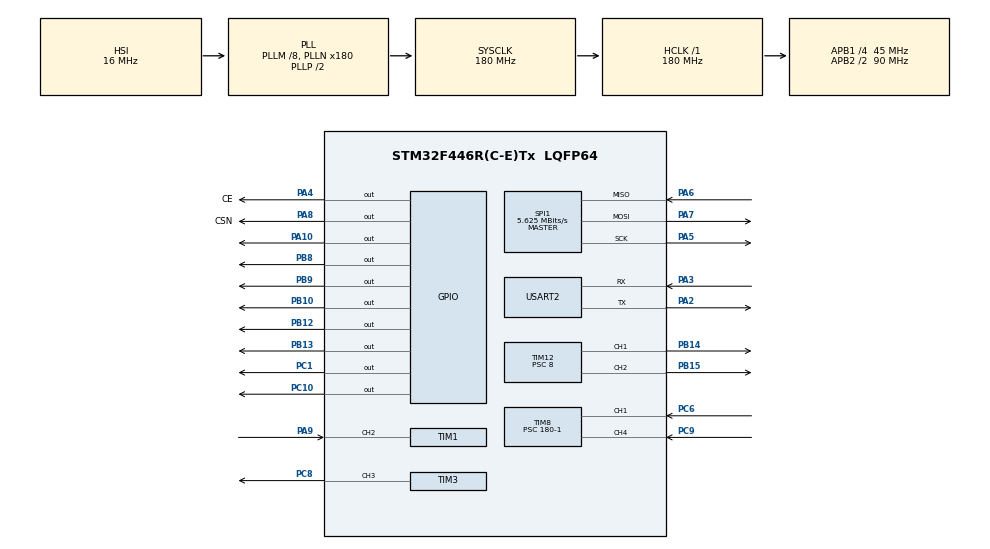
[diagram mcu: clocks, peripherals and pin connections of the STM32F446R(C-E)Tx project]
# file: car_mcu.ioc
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Mcu.Family=STM32F4
Mcu.Name=STM32F446R(C-E)Tx
Mcu.Package=LQFP64
NVIC.PriorityGroup=NVIC_PRIORITYGROUP_4
NVIC.SPI1_IRQn=true\:0\:0\:false\:false\:true\:true\:true\:true
NVIC.TIM1_CC_IRQn=true\:0\:0\:false\:false\:true\:true\:true\:true
NVIC.TIM8_CC_IRQn=true\:0\:0\:false\:false\:true\:true\:true\:true
PA10.Signal=GPIO_Output
PA13.Mode=Serial_Wire
PA13.Signal=SYS_JTMS-SWDIO
PA14.Mode=Serial_Wire
PA14.Signal=SYS_JTCK-SWCLK
PA2.Mode=Asynchronous
PA2.Signal=USART2_TX
PA3.Mode=Asynchronous
PA3.Signal=USART2_RX
PA4.GPIO_Label=CE
PA4.GPIO_Speed=GPIO_SPEED_FREQ_HIGH
PA4.Signal=GPIO_Output
PA5.Mode=Full_Duplex_Master
PA5.Signal=SPI1_SCK
PA6.Mode=Full_Duplex_Master
PA6.Signal=SPI1_MISO
PA7.Mode=Full_Duplex_Master
PA7.Signal=SPI1_MOSI
PA8.GPIO_Label=CSN
PA8.GPIO_Speed=GPIO_SPEED_FREQ_HIGH
PA8.Signal=GPIO_Output
PA9.Signal=S_TIM1_CH2
PB10.Signal=GPIO_Output
PB12.Signal=GPIO_Output
PB13.Signal=GPIO_Output
PB14.Signal=S_TIM12_CH1
PB15.Signal=S_TIM12_CH2
PB8.Signal=GPIO_Output
PB9.Signal=GPIO_Output
PC1.Signal=GPIO_Output
PC10.Signal=GPIO_Output
PC6.Signal=S_TIM8_CH1
PC8.Signal=S_TIM3_CH3
PC9.Signal=S_TIM8_CH4
ProjectManager.HeapSize=0x200
ProjectManager.StackSize=0x400
ProjectManager.TargetToolchain=STM32CubeIDE
RCC.AHBFreq_Value=180000000
RCC.APB1CLKDivider=RCC_HCLK_DIV4
RCC.APB1Freq_Value=45000000
RCC.APB1TimFreq_Value=90000000
RCC.APB2CLKDivider=RCC_HCLK_DIV2
RCC.APB2Freq_Value=90000000
RCC.APB2TimFreq_Value=180000000
RCC.CortexFreq_Value=180000000
RCC.HCLKFreq_Value=180000000
RCC.PLLM=8
RCC.PLLN=180
RCC.SYSCLKFreq_VALUE=180000000
RCC.SYSCLKSource=RCC_SYSCLKSOURCE_PLLCLK
RCC.USBFreq_Value=180000000
RCC.VCOOutputFreq_Value=360000000
SH.S_TIM12_CH1.0=TIM12_CH1,PWM Generation1 CH1
SH.S_TIM12_CH2.0=TIM12_CH2,PWM Generation2 CH2
SH.S_TIM1_CH2.0=TIM1_CH2,Input_Capture2_from_TI2
SH.S_TIM3_CH3.0=TIM3_CH3,PWM Generation3 CH3
SH.S_TIM8_CH1.0=TIM8_CH1,Input_Capture1_from_TI1
SH.S_TIM8_CH4.0=TIM8_CH4,Input_Capture4_from_TI4
SPI1.BaudRatePrescaler=SPI_BAUDRATEPRESCALER_16
SPI1.CalculateBaudRate=5.625 MBits/s
SPI1.Direction=SPI_DIRECTION_2LINES
SPI1.Mode=SPI_MODE_MASTER
SPI1.VirtualType=VM_MASTER
TIM1.Channel-Input_Capture2_from_TI2=TIM_CHANNEL_2
TIM1.Period=0xffff-1
TIM1.Prescaler=180-1
TIM12.Channel-PWM\ Generation1\ CH1=TIM_CHANNEL_1
TIM12.Channel-PWM\ Generation2\ CH2=TIM_CHANNEL_2
TIM12.Period=999
TIM12.Prescaler=8
TIM2.Prescaler=180-1
TIM3.Channel-PWM\ Generation3\ CH3=TIM_CHANNEL_3
TIM3.Period=1000-1
TIM3.Prescaler=1800-1
TIM8.Channel-Input_Capture1_from_TI1=TIM_CHANNEL_1
TIM8.Channel-Input_Capture4_from_TI4=TIM_CHANNEL_4
TIM8.Period=0xffff-1
TIM8.Prescaler=180-1
USART2.VirtualMode=VM_ASYNC
VP_TIM12_VS_ClockSourceINT.Mode=Internal
VP_TIM1_VS_ClockSourceINT.Mode=Internal
VP_TIM2_VS_ClockSourceINT.Mode=Internal
VP_TIM3_VS_ClockSourceINT.Mode=Internal
VP_TIM8_VS_ClockSourceINT.Mode=Internal
board=custom

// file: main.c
/* USER CODE BEGIN Header */
/**
 ******************************************************************************
 * @file           : main.c
 * @brief          : Main program body
 ******************************************************************************
 * @attention
 *
 * Copyright (c) 2026 STMicroelectronics.
 * All rights reserved.
 *
 * This software is licensed under terms that can be found in the LICENSE file
 * in the root directory of this software component.
 * If no LICENSE file comes with this software, it is provided AS-IS.
 *
 ******************************************************************************
 */
/* USER CODE END Header */
#include "main.h"

/* USER CODE BEGIN Includes */
#include "string.h"
#include <stdio.h>
#include "NRF24L01.h"
#include "HCSR04.h"
#include "SG90.h"
#include "TB6612FNG.h"
#include "autonomous.h"
/* USER CODE END Includes */

/* USER CODE BEGIN PD */
#define TRIG_PORT_F GPIOC
#define TRIG_PIN_F GPIO_PIN_1

#define TRIG_PORT_L GPIOA
#define TRIG_PIN_L GPIO_PIN_10

#define TRIG_PORT_R GPIOC
#define TRIG_PIN_R GPIO_PIN_10

/* USER CODE END PD */

SPI_HandleTypeDef hspi1;

TIM_HandleTypeDef htim1;
TIM_HandleTypeDef htim2;
TIM_HandleTypeDef htim3;
TIM_HandleTypeDef htim8;
TIM_HandleTypeDef htim12;

UART_HandleTypeDef huart2;

void SystemClock_Config(void);
static void MX_GPIO_Init(void);
static void MX_SPI1_Init(void);
static void MX_TIM12_Init(void);
static void MX_TIM3_Init(void);
static void MX_TIM8_Init(void);
static void MX_USART2_UART_Init(void);
static void MX_TIM1_Init(void);
static void MX_TIM2_Init(void);

/* USER CODE BEGIN 0 */
volatile float distance_front = 1000.0;
volatile float distance_right = 1000.0;
volatile float distance_left = 1000.0;

typedef struct __attribute__((packed)) {
	uint8_t mode;
	uint16_t steering;
	uint16_t throttle;
	uint8_t reserved[27];
} ControlPacket;
char buf[20];

volatile uint32_t IC_Val1_F = 0;
volatile uint32_t IC_Val2_F = 0;
volatile uint32_t Difference_F = 0;
volatile uint8_t Is_First_Captured_F = 0;

volatile uint32_t IC_Val1_R = 0;
volatile uint32_t IC_Val2_R = 0;
volatile uint32_t Difference_R = 0;
volatile uint8_t Is_First_Captured_R = 0;

volatile uint32_t IC_Val1_L = 0;
volatile uint32_t IC_Val2_L = 0;
volatile uint32_t Difference_L = 0;
volatile uint8_t Is_First_Captured_L = 0;

uint8_t RxAddress[] = { 0xEE, 0xDD, 0xCC, 0xBB, 0xAA }; // address of the receiver data is sent to
char remoteBuffer[120];

/* USER CODE END 0 */

int main(void) {

	/* MCU Configuration--------------------------------------------------------*/

	/* Reset of all peripherals, Initializes the Flash interface and the Systick. */
	HAL_Init();

	/* Configure the system clock */
	SystemClock_Config();

	/* Initialize all configured peripherals */
	MX_GPIO_Init();
	MX_SPI1_Init();
	MX_TIM12_Init();
	MX_TIM3_Init();
	MX_TIM8_Init();
	MX_USART2_UART_Init();
	MX_TIM1_Init();
	MX_TIM2_Init();
	/* USER CODE BEGIN 2 */

	HAL_TIM_Base_Start(&htim2);  // for microsecond delay HCSR04
	HAL_TIM_IC_Start_IT(&htim1, TIM_CHANNEL_2); // for HCSR04 input capture with interrupt
	HAL_TIM_IC_Start_IT(&htim8, TIM_CHANNEL_1); // for HCSR04 input capture with interrupt
	HAL_TIM_IC_Start_IT(&htim8, TIM_CHANNEL_4); // for HCSR04 input capture with interrupt
	HAL_TIM_PWM_Start(&htim3, TIM_CHANNEL_3); // for SG90 PWM
	NRF24_Init();

	HAL_TIM_PWM_Start(&htim12, TIM_CHANNEL_1);
	HAL_TIM_PWM_Start(&htim12, TIM_CHANNEL_2);

	NRF24_RxMode(RxAddress, 10); // both boards must be on the same channel to communicate

	/* USER CODE END 2 */

	/* Infinite loop */
	while (1) {

		/* USER CODE BEGIN 3 */

		ControlPacket carPacket;

		if (isDataAvailable(1) == 1) {

			NRF24_Receive((uint8_t*) &carPacket);

			Motors(carPacket.throttle);
			Servo(carPacket.steering);
		}
	}

	/* USER CODE END 3 */
}

void SystemClock_Config(void) {
	RCC_OscInitTypeDef RCC_OscInitStruct = { 0 };
	RCC_ClkInitTypeDef RCC_ClkInitStruct = { 0 };

	/** Configure the main internal regulator output voltage
	 */
	__HAL_RCC_PWR_CLK_ENABLE();
	__HAL_PWR_VOLTAGESCALING_CONFIG(PWR_REGULATOR_VOLTAGE_SCALE1);

	/** Initializes the RCC Oscillators according to the specified parameters
	 * in the RCC_OscInitTypeDef structure.
	 */
	RCC_OscInitStruct.OscillatorType = RCC_OSCILLATORTYPE_HSI;
	RCC_OscInitStruct.HSIState = RCC_HSI_ON;
	RCC_OscInitStruct.HSICalibrationValue = RCC_HSICALIBRATION_DEFAULT;
	RCC_OscInitStruct.PLL.PLLState = RCC_PLL_ON;
	RCC_OscInitStruct.PLL.PLLSource = RCC_PLLSOURCE_HSI;
	RCC_OscInitStruct.PLL.PLLM = 8;
	RCC_OscInitStruct.PLL.PLLN = 180;
	RCC_OscInitStruct.PLL.PLLP = RCC_PLLP_DIV2;
	RCC_OscInitStruct.PLL.PLLQ = 2;
	RCC_OscInitStruct.PLL.PLLR = 2;
	if (HAL_RCC_OscConfig(&RCC_OscInitStruct) != HAL_OK) {
		Error_Handler();
	}

	/** Activate the Over-Drive mode
	 */
	if (HAL_PWREx_EnableOverDrive() != HAL_OK) {
		Error_Handler();
	}

	/** Initializes the CPU, AHB and APB buses clocks
	 */
	RCC_ClkInitStruct.ClockType = RCC_CLOCKTYPE_HCLK | RCC_CLOCKTYPE_SYSCLK
			| RCC_CLOCKTYPE_PCLK1 | RCC_CLOCKTYPE_PCLK2;
	RCC_ClkInitStruct.SYSCLKSource = RCC_SYSCLKSOURCE_PLLCLK;
	RCC_ClkInitStruct.AHBCLKDivider = RCC_SYSCLK_DIV1;
	RCC_ClkInitStruct.APB1CLKDivider = RCC_HCLK_DIV4;
	RCC_ClkInitStruct.APB2CLKDivider = RCC_HCLK_DIV2;

	if (HAL_RCC_ClockConfig(&RCC_ClkInitStruct, FLASH_LATENCY_5) != HAL_OK) {
		Error_Handler();
	}
}

static void MX_SPI1_Init(void) {

	/* SPI1 parameter configuration*/
	hspi1.Instance = SPI1;
	hspi1.Init.Mode = SPI_MODE_MASTER;
	hspi1.Init.Direction = SPI_DIRECTION_2LINES;
	hspi1.Init.DataSize = SPI_DATASIZE_8BIT;
	hspi1.Init.CLKPolarity = SPI_POLARITY_LOW;
	hspi1.Init.CLKPhase = SPI_PHASE_1EDGE;
	hspi1.Init.NSS = SPI_NSS_SOFT;
	hspi1.Init.BaudRatePrescaler = SPI_BAUDRATEPRESCALER_16;
	hspi1.Init.FirstBit = SPI_FIRSTBIT_MSB;
	hspi1.Init.TIMode = SPI_TIMODE_DISABLE;
	hspi1.Init.CRCCalculation = SPI_CRCCALCULATION_DISABLE;
	hspi1.Init.CRCPolynomial = 10;
	if (HAL_SPI_Init(&hspi1) != HAL_OK) {
		Error_Handler();
	}

}

static void MX_TIM1_Init(void) {

	TIM_ClockConfigTypeDef sClockSourceConfig = { 0 };
	TIM_MasterConfigTypeDef sMasterConfig = { 0 };
	TIM_IC_InitTypeDef sConfigIC = { 0 };

	htim1.Instance = TIM1;
	htim1.Init.Prescaler = 180 - 1;
	htim1.Init.CounterMode = TIM_COUNTERMODE_UP;
	htim1.Init.Period = 0xffff - 1;
	htim1.Init.ClockDivision = TIM_CLOCKDIVISION_DIV1;
	htim1.Init.RepetitionCounter = 0;
	htim1.Init.AutoReloadPreload = TIM_AUTORELOAD_PRELOAD_DISABLE;
	if (HAL_TIM_Base_Init(&htim1) != HAL_OK) {
		Error_Handler();
	}
	sClockSourceConfig.ClockSource = TIM_CLOCKSOURCE_INTERNAL;
	if (HAL_TIM_ConfigClockSource(&htim1, &sClockSourceConfig) != HAL_OK) {
		Error_Handler();
	}
	if (HAL_TIM_IC_Init(&htim1) != HAL_OK) {
		Error_Handler();
	}
	sMasterConfig.MasterOutputTrigger = TIM_TRGO_RESET;
	sMasterConfig.MasterSlaveMode = TIM_MASTERSLAVEMODE_DISABLE;
	if (HAL_TIMEx_MasterConfigSynchronization(&htim1, &sMasterConfig)
			!= HAL_OK) {
		Error_Handler();
	}
	sConfigIC.ICPolarity = TIM_INPUTCHANNELPOLARITY_RISING;
	sConfigIC.ICSelection = TIM_ICSELECTION_DIRECTTI;
	sConfigIC.ICPrescaler = TIM_ICPSC_DIV1;
	sConfigIC.ICFilter = 0;
	if (HAL_TIM_IC_ConfigChannel(&htim1, &sConfigIC, TIM_CHANNEL_2) != HAL_OK) {
		Error_Handler();
	}

}

static void MX_TIM2_Init(void) {

	TIM_ClockConfigTypeDef sClockSourceConfig = { 0 };
	TIM_MasterConfigTypeDef sMasterConfig = { 0 };

	htim2.Instance = TIM2;
	htim2.Init.Prescaler = 180 - 1;
	htim2.Init.CounterMode = TIM_COUNTERMODE_UP;
	htim2.Init.Period = 4294967295;
	htim2.Init.ClockDivision = TIM_CLOCKDIVISION_DIV1;
	htim2.Init.AutoReloadPreload = TIM_AUTORELOAD_PRELOAD_DISABLE;
	if (HAL_TIM_Base_Init(&htim2) != HAL_OK) {
		Error_Handler();
	}
	sClockSourceConfig.ClockSource = TIM_CLOCKSOURCE_INTERNAL;
	if (HAL_TIM_ConfigClockSource(&htim2, &sClockSourceConfig) != HAL_OK) {
		Error_Handler();
	}
	sMasterConfig.MasterOutputTrigger = TIM_TRGO_RESET;
	sMasterConfig.MasterSlaveMode = TIM_MASTERSLAVEMODE_DISABLE;
	if (HAL_TIMEx_MasterConfigSynchronization(&htim2, &sMasterConfig)
			!= HAL_OK) {
		Error_Handler();
	}

}

static void MX_TIM3_Init(void) {

	TIM_ClockConfigTypeDef sClockSourceConfig = { 0 };
	TIM_MasterConfigTypeDef sMasterConfig = { 0 };
	TIM_OC_InitTypeDef sConfigOC = { 0 };

	htim3.Instance = TIM3;
	htim3.Init.Prescaler = 1800 - 1;
	htim3.Init.CounterMode = TIM_COUNTERMODE_UP;
	htim3.Init.Period = 1000 - 1;
	htim3.Init.ClockDivision = TIM_CLOCKDIVISION_DIV1;
	htim3.Init.AutoReloadPreload = TIM_AUTORELOAD_PRELOAD_DISABLE;
	if (HAL_TIM_Base_Init(&htim3) != HAL_OK) {
		Error_Handler();
	}
	sClockSourceConfig.ClockSource = TIM_CLOCKSOURCE_INTERNAL;
	if (HAL_TIM_ConfigClockSource(&htim3, &sClockSourceConfig) != HAL_OK) {
		Error_Handler();
	}
	if (HAL_TIM_PWM_Init(&htim3) != HAL_OK) {
		Error_Handler();
	}
	sMasterConfig.MasterOutputTrigger = TIM_TRGO_RESET;
	sMasterConfig.MasterSlaveMode = TIM_MASTERSLAVEMODE_DISABLE;
	if (HAL_TIMEx_MasterConfigSynchronization(&htim3, &sMasterConfig)
			!= HAL_OK) {
		Error_Handler();
	}
	sConfigOC.OCMode = TIM_OCMODE_PWM1;
	sConfigOC.Pulse = 0;
	sConfigOC.OCPolarity = TIM_OCPOLARITY_HIGH;
	sConfigOC.OCFastMode = TIM_OCFAST_DISABLE;
	if (HAL_TIM_PWM_ConfigChannel(&htim3, &sConfigOC, TIM_CHANNEL_3)
			!= HAL_OK) {
		Error_Handler();
	}
	HAL_TIM_MspPostInit(&htim3);

}

static void MX_TIM8_Init(void) {

	TIM_ClockConfigTypeDef sClockSourceConfig = { 0 };
	TIM_MasterConfigTypeDef sMasterConfig = { 0 };
	TIM_IC_InitTypeDef sConfigIC = { 0 };

	htim8.Instance = TIM8;
	htim8.Init.Prescaler = 180 - 1;
	htim8.Init.CounterMode = TIM_COUNTERMODE_UP;
	htim8.Init.Period = 0xffff - 1;
	htim8.Init.ClockDivision = TIM_CLOCKDIVISION_DIV1;
	htim8.Init.RepetitionCounter = 0;
	htim8.Init.AutoReloadPreload = TIM_AUTORELOAD_PRELOAD_DISABLE;
	if (HAL_TIM_Base_Init(&htim8) != HAL_OK) {
		Error_Handler();
	}
	sClockSourceConfig.ClockSource = TIM_CLOCKSOURCE_INTERNAL;
	if (HAL_TIM_ConfigClockSource(&htim8, &sClockSourceConfig) != HAL_OK) {
		Error_Handler();
	}
	if (HAL_TIM_IC_Init(&htim8) != HAL_OK) {
		Error_Handler();
	}
	sMasterConfig.MasterOutputTrigger = TIM_TRGO_RESET;
	sMasterConfig.MasterSlaveMode = TIM_MASTERSLAVEMODE_DISABLE;
	if (HAL_TIMEx_MasterConfigSynchronization(&htim8, &sMasterConfig)
			!= HAL_OK) {
		Error_Handler();
	}
	sConfigIC.ICPolarity = TIM_INPUTCHANNELPOLARITY_RISING;
	sConfigIC.ICSelection = TIM_ICSELECTION_DIRECTTI;
	sConfigIC.ICPrescaler = TIM_ICPSC_DIV1;
	sConfigIC.ICFilter = 0;
	if (HAL_TIM_IC_ConfigChannel(&htim8, &sConfigIC, TIM_CHANNEL_1) != HAL_OK) {
		Error_Handler();
	}
	if (HAL_TIM_IC_ConfigChannel(&htim8, &sConfigIC, TIM_CHANNEL_4) != HAL_OK) {
		Error_Handler();
	}

}

static void MX_TIM12_Init(void) {

	TIM_ClockConfigTypeDef sClockSourceConfig = { 0 };
	TIM_OC_InitTypeDef sConfigOC = { 0 };

	htim12.Instance = TIM12;
	htim12.Init.Prescaler = 8;
	htim12.Init.CounterMode = TIM_COUNTERMODE_UP;
	htim12.Init.Period = 999;
	htim12.Init.ClockDivision = TIM_CLOCKDIVISION_DIV1;
	htim12.Init.AutoReloadPreload = TIM_AUTORELOAD_PRELOAD_DISABLE;
	if (HAL_TIM_Base_Init(&htim12) != HAL_OK) {
		Error_Handler();
	}
	sClockSourceConfig.ClockSource = TIM_CLOCKSOURCE_INTERNAL;
	if (HAL_TIM_ConfigClockSource(&htim12, &sClockSourceConfig) != HAL_OK) {
		Error_Handler();
	}
	if (HAL_TIM_PWM_Init(&htim12) != HAL_OK) {
		Error_Handler();
	}
	sConfigOC.OCMode = TIM_OCMODE_PWM1;
	sConfigOC.Pulse = 0;
	sConfigOC.OCPolarity = TIM_OCPOLARITY_HIGH;
	sConfigOC.OCFastMode = TIM_OCFAST_DISABLE;
	if (HAL_TIM_PWM_ConfigChannel(&htim12, &sConfigOC, TIM_CHANNEL_1)
			!= HAL_OK) {
		Error_Handler();
	}
	if (HAL_TIM_PWM_ConfigChannel(&htim12, &sConfigOC, TIM_CHANNEL_2)
			!= HAL_OK) {
		Error_Handler();
	}
	HAL_TIM_MspPostInit(&htim12);

}

static void MX_USART2_UART_Init(void) {

	huart2.Instance = USART2;
	huart2.Init.BaudRate = 9600;
	huart2.Init.WordLength = UART_WORDLENGTH_8B;
	huart2.Init.StopBits = UART_STOPBITS_1;
	huart2.Init.Parity = UART_PARITY_NONE;
	huart2.Init.Mode = UART_MODE_TX_RX;
	huart2.Init.HwFlowCtl = UART_HWCONTROL_NONE;
	huart2.Init.OverSampling = UART_OVERSAMPLING_16;
	if (HAL_UART_Init(&huart2) != HAL_OK) {
		Error_Handler();
	}

}

static void MX_GPIO_Init(void) {
	GPIO_InitTypeDef GPIO_InitStruct = { 0 };

	/* GPIO Ports Clock Enable */
	__HAL_RCC_GPIOC_CLK_ENABLE();
	__HAL_RCC_GPIOA_CLK_ENABLE();
	__HAL_RCC_GPIOB_CLK_ENABLE();

	/*Configure GPIO pin Output Level */
	HAL_GPIO_WritePin(GPIOC, GPIO_PIN_1 | GPIO_PIN_10, GPIO_PIN_RESET);

	/*Configure GPIO pin Output Level */
	HAL_GPIO_WritePin(GPIOA, CE_Pin | CSN_Pin | GPIO_PIN_10, GPIO_PIN_RESET);

	/*Configure GPIO pin Output Level */
	HAL_GPIO_WritePin(GPIOB,
	GPIO_PIN_10 | GPIO_PIN_12 | GPIO_PIN_13 | GPIO_PIN_8 | GPIO_PIN_9,
			GPIO_PIN_RESET);

	/*Configure GPIO pins : PC1 PC10 */
	GPIO_InitStruct.Pin = GPIO_PIN_1 | GPIO_PIN_10;
	GPIO_InitStruct.Mode = GPIO_MODE_OUTPUT_PP;
	GPIO_InitStruct.Pull = GPIO_NOPULL;
	GPIO_InitStruct.Speed = GPIO_SPEED_FREQ_LOW;
	HAL_GPIO_Init(GPIOC, &GPIO_InitStruct);

	/*Configure GPIO pins : CE_Pin CSN_Pin */
	GPIO_InitStruct.Pin = CE_Pin | CSN_Pin;
	GPIO_InitStruct.Mode = GPIO_MODE_OUTPUT_PP;
	GPIO_InitStruct.Pull = GPIO_NOPULL;
	GPIO_InitStruct.Speed = GPIO_SPEED_FREQ_HIGH;
	HAL_GPIO_Init(GPIOA, &GPIO_InitStruct);

	/*Configure GPIO pins : PB10 PB12 PB13 PB8
	 PB9 */
	GPIO_InitStruct.Pin = GPIO_PIN_10 | GPIO_PIN_12 | GPIO_PIN_13 | GPIO_PIN_8
			| GPIO_PIN_9;
	GPIO_InitStruct.Mode = GPIO_MODE_OUTPUT_PP;
	GPIO_InitStruct.Pull = GPIO_NOPULL;
	GPIO_InitStruct.Speed = GPIO_SPEED_FREQ_LOW;
	HAL_GPIO_Init(GPIOB, &GPIO_InitStruct);

	/*Configure GPIO pin : PA10 */
	GPIO_InitStruct.Pin = GPIO_PIN_10;
	GPIO_InitStruct.Mode = GPIO_MODE_OUTPUT_PP;
	GPIO_InitStruct.Pull = GPIO_NOPULL;
	GPIO_InitStruct.Speed = GPIO_SPEED_FREQ_LOW;
	HAL_GPIO_Init(GPIOA, &GPIO_InitStruct);

}

void Error_Handler(void) {
	__disable_irq();
	while (1) {
	}
}
